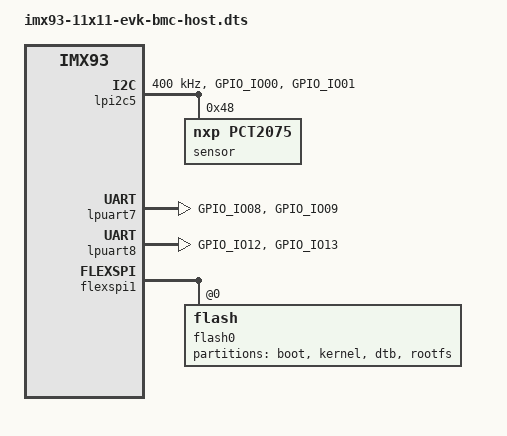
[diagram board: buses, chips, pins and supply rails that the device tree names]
// SPDX-License-Identifier: (GPL-2.0+ OR MIT)
/*
 * Copyright 2025-2026 NXP
 */

#include "imx93-11x11-evk-flexspi-m2.dts"

&lpi2c5 {
#address-cells = <1>;
#size-cells = <0>;
	clock-frequency = <400000>;
	pinctrl-names = "default", "sleep";
	pinctrl-0 = <&pinctrl_lpi2c5>;
	pinctrl-1 = <&pinctrl_lpi2c5>;
	status = "okay";

	sensor@48 {
		compatible = "nxp,pct2075";
		reg = <0x48>;
	};
};

&lpuart7 { /* console */
	pinctrl-names = "default";
	pinctrl-0 = <&pinctrl_uart7>;
	status = "okay";
};

&lpuart8 { /* console */
	pinctrl-names = "default";
	pinctrl-0 = <&pinctrl_uart8>;
	status = "okay";
};

&iomuxc {

pinctrl_lpi2c5: lpi2c5grp {
			fsl,pins = <
				MX93_PAD_GPIO_IO00__LPI2C5_SDA			0x40000b9e
				MX93_PAD_GPIO_IO01__LPI2C5_SCL			0x40000b9e
				>;
		};

pinctrl_uart7: uart7grp {
		       fsl,pins = <
			       MX93_PAD_GPIO_IO08__LPUART7_TX			0x31e
			       MX93_PAD_GPIO_IO09__LPUART7_RX			0x31e
			       >;
	       };

pinctrl_uart8: uart8grp {
		       fsl,pins = <
			       MX93_PAD_GPIO_IO12__LPUART8_TX			0x31e
			       MX93_PAD_GPIO_IO13__LPUART8_RX			0x31e
			       >;
	       };
};

&flexspi1 {
        flash0: flash@0 {
                partitions {
                        compatible = "fixed-partitions";
                        #address-cells = <1>;
                        #size-cells = <1>;

                        partition@0 {
                                label = "boot";
                                reg = <0x00000000 0x002C0000>;
                        };

                        partition@2C0000 {
                                label = "kernel";
                                reg = <0x002C0000 0x01000000>;
                        };

                        partition@12C0000 {
                                label = "dtb";
                                reg = <0x012C0000 0x00080000>;
                        };

                        partition@1340000 {
                                label = "rootfs";
                                reg = <0x01340000 0x027C0000>;
                        };
                };
        };
};
